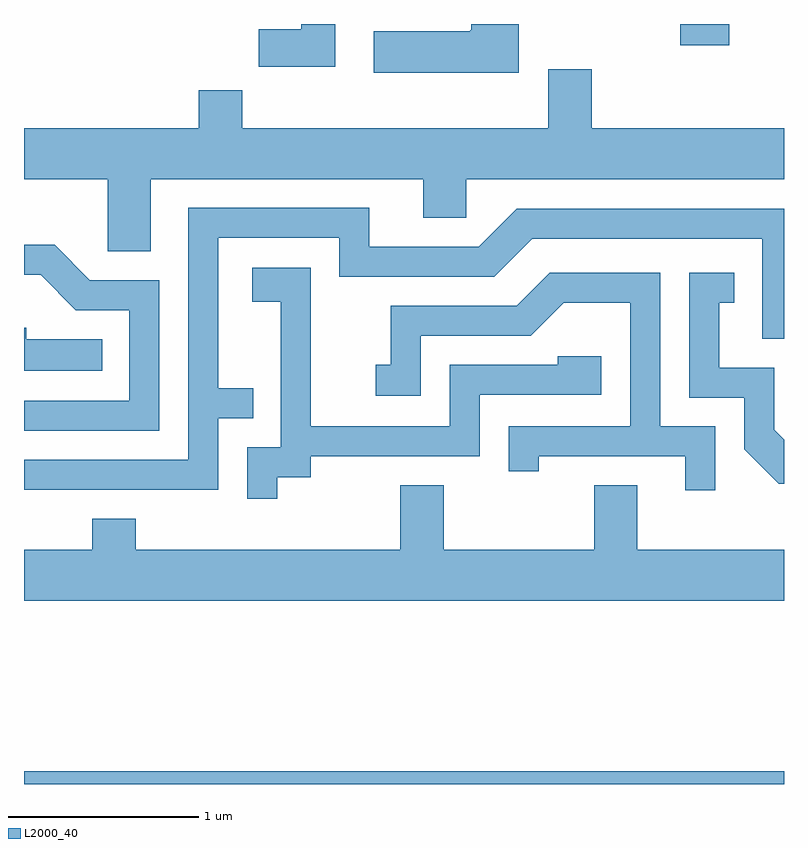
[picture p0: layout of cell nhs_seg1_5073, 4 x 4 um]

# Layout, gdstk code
import gdstk
lib = gdstk.Library(unit=1e-6, precision=1e-09)
def R(c, l, rs):  # rectangles x0, y0, x1, y1
    for r in rs: c.add(gdstk.rectangle(r[:2], r[2:], *l))
def P(c, l, *ps):  # polygons
    for p in ps: c.add(gdstk.Polygon(p, *l))
L2000_40 = (2000, 40)

nhs_seg1_5073 = lib.new_cell('nhs_seg1_5073')
R(nhs_seg1_5073, L2000_40, [(337.611,909.712,341.611,909.779), (341.066,913.601,341.324,913.712)])
P(nhs_seg1_5073, L2000_40, [(339.249,913.712),(339.071,913.712),(339.071,913.684),(338.846,913.684),(338.846,913.486),(339.249,913.486)],
  [(340.214,913.712),(339.966,913.712),(339.966,913.68),(339.96,913.68),(339.96,913.674),(339.451,913.674),(339.451,913.456),(340.214,913.456)],
  [(338.279,912.896),(339.711,912.896),(339.711,912.691),(339.939,912.691),(339.939,912.896),(341.611,912.896),(341.611,913.164),(340.599,913.164),(340.599,913.474),(340.371,913.474),(340.371,913.164),(338.759,913.164),(338.759,913.364),(338.531,913.364),(338.531,913.164),(337.611,913.164),(337.611,912.896),(338.051,912.896),(338.051,912.516),(338.279,912.516)],
  [(338.634,911.636),(338.818,911.636),(338.818,911.794),(338.634,911.794),(338.634,912.586),(339.271,912.586),(339.271,912.381),(340.087,912.381),(340.287,912.581),(341.496,912.581),(341.496,912.056),(341.611,912.056),(341.611,912.739),(340.204,912.739),(340.004,912.539),(339.429,912.539),(339.429,912.744),(338.476,912.744),(338.476,911.419),(337.611,911.419),(337.611,911.261),(338.634,911.261)],
  [(338.324,912.364),(337.957,912.364),(337.772,912.549),(337.611,912.549),(337.611,912.391),(337.699,912.391),(337.884,912.206),(338.166,912.206),(338.166,911.729),(337.611,911.729),(337.611,911.571),(338.324,911.571)],
  [(338.944,911.326),(339.119,911.326),(339.119,911.436),(340.009,911.436),(340.009,911.761),(340.649,911.761),(340.649,911.964),(340.421,911.964),(340.421,911.919),(339.851,911.919),(339.851,911.594),(339.119,911.594),(339.119,912.429),(338.811,912.429),(338.811,912.251),(338.961,912.251),(338.961,911.484),(338.786,911.484),(338.786,911.213),(338.944,911.213)],
  [(341.249,911.594),(340.959,911.594),(340.959,912.404),(340.379,912.404),(340.204,912.229),(339.541,912.229),(339.541,911.919),(339.463,911.919),(339.463,911.756),(339.699,911.756),(339.699,912.071),(340.277,912.071),(340.452,912.246),(340.801,912.246),(340.801,911.594),(340.161,911.594),(340.161,911.358),(340.319,911.358),(340.319,911.436),(341.091,911.436),(341.091,911.258),(341.249,911.258)],
  [(341.611,911.525),(341.559,911.577),(341.559,911.904),(341.269,911.904),(341.269,912.246),(341.348,912.246),(341.348,912.404),(341.111,912.404),(341.111,911.746),(341.401,911.746),(341.401,911.474),(341.584,911.291),(341.611,911.291)],
  [(338.023,912.054),(337.624,912.054),(337.624,912.114),(337.611,912.114),(337.611,911.886),(338.023,911.886)],
  [(341.611,910.944),(340.839,910.944),(340.839,911.284),(340.611,911.284),(340.611,910.944),(339.819,910.944),(339.819,911.284),(339.591,911.284),(339.591,910.944),(338.199,910.944),(338.199,911.109),(337.971,911.109),(337.971,910.944),(337.611,910.944),(337.611,910.676),(341.611,910.676)])

lib.write_gds('nhs_seg1_5073.gds')
